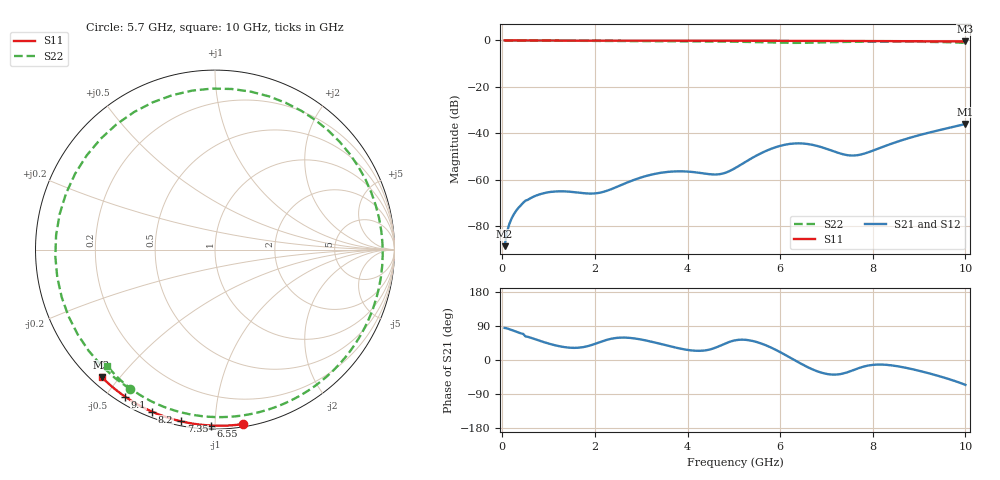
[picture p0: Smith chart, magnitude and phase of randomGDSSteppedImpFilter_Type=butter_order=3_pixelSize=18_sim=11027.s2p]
! freq	dB(S11)	phase(S11)	dB(S12)	phase(S12)
!  dB(S21)	phase(S21)	dB(S22)	phase(S22)
!S-par simulation data
#  GHz  S  DB  R 50
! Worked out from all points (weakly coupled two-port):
!   200 points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, 50 MHz to 10 GHz, reference 50 ohm
!   highest |S21| = -35.99 dB at 10 GHz (marker M1); lowest = -88.6 dB at 50 MHz (marker M2)
!   lowest |S11| = -0.4 dB at 10 GHz (marker M3), VSWR 38.95, Z = 1.54 - j22.4 ohm
!   |S11| at or under -10 dB: nowhere
!   |S22| runs from -1.1 to 0.0 dB; largest |S21 - S12| = 0
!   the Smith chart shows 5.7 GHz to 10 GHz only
!   S11 on the Smith chart (normalised r, x): 5.7 GHz: 0.02, -1.18; 6.55 GHz: 0.02, -0.98; 7.35 GHz: 0.02, -0.82; 8.2 GHz: 0.02, -0.69; 9.1 GHz: 0.03, -0.56; 10 GHz: 0.03, -0.45
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0.05  -0.00 -0.8  -88.60 84.6  -88.60 84.6  -0.00 -4.5
0.5  -0.01 -7.6  -69.01 62.2  -69.01 62.2  -0.06 -44.2
0.9  -0.02 -13.6  -65.75 47.1  -65.75 47.1  -0.10 -78.2
1.3  -0.02 -19.6  -64.97 34.8  -64.97 34.8  -0.13 -110.4
1.75  -0.03 -26.3  -65.77 34.0  -65.77 34.0  -0.16 -144.9
2.5  -0.05 -37.2  -62.83 58.7  -62.83 58.7  -0.21 160.0
3.4  -0.07 -50.0  -57.07 43.0  -57.07 43.0  -0.27 92.7
3.85  -0.08 -56.2  -56.36 29.9  -56.36 29.9  -0.31 57.1
4.35  -0.09 -63.0  -57.28 24.9  -57.28 24.9  -0.38 15.4
4.7  -0.10 -67.7  -57.56 37.4  -57.56 37.4  -0.44 -15.5
5.05  -0.11 -72.4  -54.72 52.4  -54.72 52.4  -0.53 -48.6
5.4  -0.12 -76.9  -50.55 50.4  -50.55 50.4  -0.67 -85.3
5.7  -0.13 -80.8  -47.53 38.4  -47.53 38.4  -0.82 -121.3
6.15  -0.15 -86.4  -44.73 10.8  -44.73 10.8  -1.02 174.8
6.55  -0.17 -91.4  -44.49 -16.2  -44.49 -16.2  -1.00 112.9
6.7  -0.18 -93.2  -44.96 -24.8  -44.96 -24.8  -0.94 91.0
7.05  -0.20 -97.5  -46.99 -37.6  -46.99 -37.6  -0.76 46.3
7.35  -0.22 -101.1  -48.97 -35.9  -48.97 -35.9  -0.64 15.5
8.2  -0.28 -111.1  -45.96 -12.1  -45.96 -12.1  -0.52 -45.6
8.35  -0.29 -112.9  -44.85 -13.4  -44.85 -13.4  -0.52 -53.9
9.1  -0.35 -121.5  -40.28 -31.5  -40.28 -31.5  -0.60 -90.1
10  -0.45 -131.7  -35.99 -65.6  -35.99 -65.6  -1.09 -132.9
